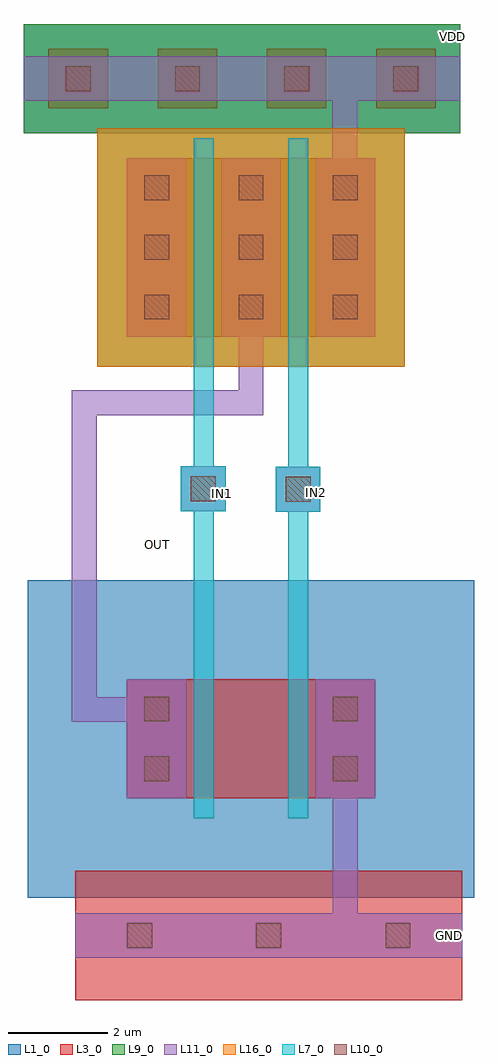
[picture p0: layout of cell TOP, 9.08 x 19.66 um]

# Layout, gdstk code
import gdstk
lib = gdstk.Library(unit=1e-6, precision=1e-09)
def R(c, l, rs):  # rectangles x0, y0, x1, y1
    for r in rs: c.add(gdstk.rectangle(r[:2], r[2:], *l))
def A(c, l, x, y, w, h, nx, ny, dx, dy):  # array of equal rectangles
    R(c, l, [(x+i*dx, y+j*dy, x+i*dx+w, y+j*dy+h) for i in range(nx) for j in range(ny)])
L1_0 = (1, 0)
L3_0 = (3, 0)
L7_0 = (7, 0)
L9_0 = (9, 0)
L10_0 = (10, 0)
L11_0 = (11, 0)
L16_0 = (16, 0)

pcont = lib.new_cell('pcont')
R(pcont, L7_0, [(-0.45,-0.45,0.45,0.45)])
R(pcont, L10_0, [(-0.25,-0.25,0.25,0.25)])
R(pcont, L11_0, [(-0.45,-0.45,0.45,0.45)])

dcont = lib.new_cell('dcont')
R(dcont, L3_0, [(-0.6,-0.6,0.6,0.6)])
R(dcont, L10_0, [(-0.25,-0.25,0.25,0.25)])

nch_1 = lib.new_cell('Nch$1')
R(nch_1, L1_0, [(-2,-0.3,7,6.1)])
R(nch_1, L3_0, [(0,1.7,5,4.1)])
nch_1.add(gdstk.FlexPath([(0.6,1.7),(0.6,4.1)], 1.2, ends="flush", simple_path=True, layer=11, datatype=0))  # L11_0
nch_1.add(gdstk.FlexPath([(4.4,1.7),(4.4,4.1)], 1.2, ends="flush", simple_path=True, layer=11, datatype=0))  # L11_0
nch_1.add(gdstk.FlexPath([(1.55,1.7),(1.55,4.1)], 0.4, ends=(0.4, 0.4), simple_path=True, layer=7, datatype=0))  # L7_0
nch_1.add(gdstk.FlexPath([(3.45,1.7),(3.45,4.1)], 0.4, ends=(0.4, 0.4), simple_path=True, layer=7, datatype=0))  # L7_0
nch_1.add(gdstk.Reference(dcont, (0.6,2.3)))
nch_1.add(gdstk.Reference(dcont, (0.6,3.5)))
nch_1.add(gdstk.Reference(dcont, (4.4,2.3)))
nch_1.add(gdstk.Reference(dcont, (4.4,3.5)))

pch = lib.new_cell('Pch')
R(pch, L3_0, [(0,1.7,5,5.3)])
R(pch, L9_0, [(-0.6,1.1,5.6,5.9)])
R(pch, L16_0, [(-0.6,1.1,5.6,5.9)])
pch.add(gdstk.FlexPath([(0.6,1.7),(0.6,5.3)], 1.2, ends="flush", simple_path=True, layer=11, datatype=0))  # L11_0
pch.add(gdstk.FlexPath([(2.5,1.7),(2.5,5.3)], 1.2, ends="flush", simple_path=True, layer=11, datatype=0))  # L11_0
pch.add(gdstk.FlexPath([(4.4,1.7),(4.4,5.3)], 1.2, ends="flush", simple_path=True, layer=11, datatype=0))  # L11_0
pch.add(gdstk.FlexPath([(1.55,1.7),(1.55,5.3)], 0.4, ends=(0.4, 0.4), simple_path=True, layer=7, datatype=0))  # L7_0
pch.add(gdstk.FlexPath([(3.45,1.7),(3.45,5.3)], 0.4, ends=(0.4, 0.4), simple_path=True, layer=7, datatype=0))  # L7_0
pch.add(gdstk.Reference(dcont, (0.6,2.3)))
pch.add(gdstk.Reference(dcont, (0.6,3.5)))
pch.add(gdstk.Reference(dcont, (0.6,4.7)))
pch.add(gdstk.Reference(dcont, (2.5,2.3)))
pch.add(gdstk.Reference(dcont, (2.5,3.5)))
pch.add(gdstk.Reference(dcont, (2.5,4.7)))
pch.add(gdstk.Reference(dcont, (4.4,2.3)))
pch.add(gdstk.Reference(dcont, (4.4,3.5)))
pch.add(gdstk.Reference(dcont, (4.4,4.7)))

nsub_line = lib.new_cell('Nsub_line')
R(nsub_line, L3_0, [(0,-1.3,7.8,1.3)])
A(nsub_line, L10_0, 1.05, -0.25, 0.5, 0.5, 3, 1, 2.6, 0)
nsub_line.add(gdstk.FlexPath([(0,0),(7.8,0)], 0.9, ends="flush", simple_path=True, layer=11, datatype=0))  # L11_0

psub_line = lib.new_cell('Psub_line')
R(psub_line, L1_0, [(0,-1.1,8.8,1.1)])
A(psub_line, L3_0, 0.5, -0.6, 1.2, 1.2, 4, 1, 2.2, 0)
R(psub_line, L9_0, [(0,-1.1,8.8,1.1)])
A(psub_line, L10_0, 0.85, -0.25, 0.5, 0.5, 4, 1, 2.2, 0)
psub_line.add(gdstk.FlexPath([(0,0),(8.8,0)], 0.9, ends="flush", simple_path=True, layer=11, datatype=0))  # L11_0

top = lib.new_cell('TOP')
top.add(gdstk.FlexPath([(0.68,7.91),(0.68,6.23),(-2.68,6.23),(-2.68,0.05),(-1.22,0.05)], 0.5, ends="flush", simple_path=True, layer=11, datatype=0))  # L11_0
top.add(gdstk.FlexPath([(2.57,10.81),(2.57,12.76)], 0.5, ends="flush", simple_path=True, layer=11, datatype=0))  # L11_0
top.add(gdstk.FlexPath([(2.58,-1.39),(2.58,-4.5)], 0.5, ends="flush", simple_path=True, layer=11, datatype=0))  # L11_0
top.add(gdstk.FlexPath([(-0.27,7.56),(-0.27,0.66)], 0.4, ends="flush", simple_path=True, layer=7, datatype=0))  # L7_0
top.add(gdstk.FlexPath([(1.63,7.56),(1.63,0.89)], 0.4, ends="flush", simple_path=True, layer=7, datatype=0))  # L7_0
top.add(gdstk.Reference(pcont, (1.63,4.49)))
top.add(gdstk.Reference(pcont, (-0.28,4.5)))
top.add(gdstk.Reference(nch_1, (-1.82,-3.44)))
top.add(gdstk.Reference(pch, (-1.82,5.86)))
top.add(gdstk.Reference(nsub_line, (-2.86,-4.5)))
top.add(gdstk.Reference(psub_line, (-3.9,12.76)))
top.add(gdstk.Label('IN2', (2,4.42), layer=11, texttype=0))
top.add(gdstk.Label('IN1', (0.11,4.41), layer=11, texttype=0))
top.add(gdstk.Label('GND', (4.68,-4.5), layer=11, texttype=0))
top.add(gdstk.Label('OUT', (-1.21,3.37), layer=11, texttype=0))
top.add(gdstk.Label('VDD', (4.73,13.6), layer=11, texttype=0))

lib.write_gds('TOP.gds')
